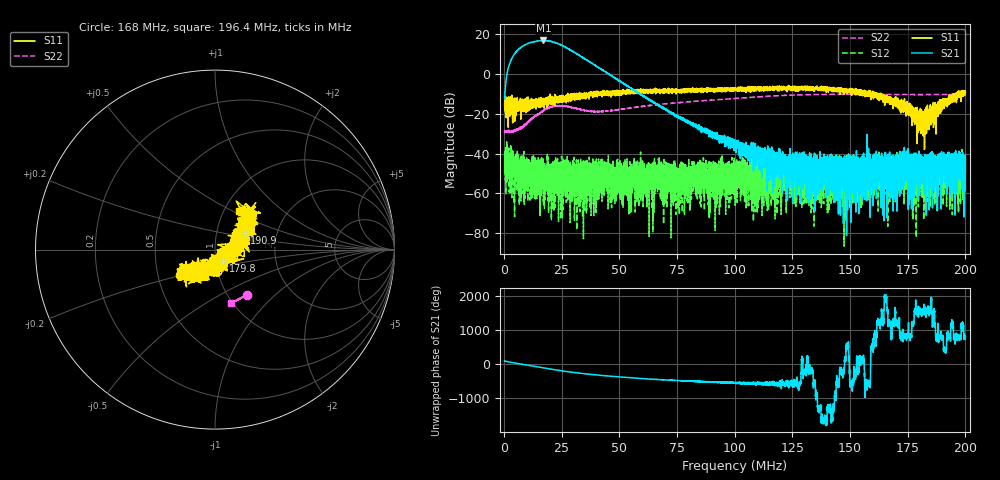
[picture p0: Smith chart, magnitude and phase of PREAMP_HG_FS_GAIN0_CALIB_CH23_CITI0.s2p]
# Hz S DB R 50
! CMT, M5065, 19127446, 24.2.4/2
! Date: 9/20/2024 3:19:42 PM
! Data: Format (Calibration Info)
! Freq	S11:dB/Ang(F2)	S21:dB/Ang(F2)	S12:dB/Ang(F2)	S22:dB/Ang(F2)
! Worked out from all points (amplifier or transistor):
!   7000 points, 300 kHz to 200 MHz, reference 50 ohm
!   highest |S21| = 17.0 dB at 17.13 MHz (marker M1)
!   |S21| within 3 dB of that: 7.997 MHz to 26.01 MHz (18.02 MHz wide, 106 % of centre)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
!   unconditionally stable (mu >= 1): start of sweep to end of sweep
!   at 33.57 MHz: K = 81.48, MAG = 9.3 dB, |S12| = -53.9 dB
!   at 100.2 MHz: K = 13311.57, MAG = -34.8 dB, |S12| = -54.7 dB
!   at 200 MHz: K = 33765.70, MAG = -39.7 dB, |S12| = -57.9 dB
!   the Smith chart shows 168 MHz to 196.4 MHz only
!   S11 on the Smith chart (normalised r, x): 168 MHz: 0.65, -0.19; 179.8 MHz: 1.09, -0.14; 190.9 MHz: 1.37, +0.26; 196.4 MHz: 1.18, +0.53
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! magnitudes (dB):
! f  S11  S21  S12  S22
! 300 kHz  -15.6  -12.5  -49.1  -29.3
! 2.183 MHz  -14.4  4.2  -44.9  -28.9
! 4.922 MHz  -14.7  10.7  -55.2  -28.8
! 17.13 MHz  -13.5  17.0  -47.4  -18.2
! 33.6 MHz  -10.5  8.8  -50.1  -17.9
! 66.87 MHz  -8.2  -15.8  -47.6  -15.3
! 100.2 MHz  -8.2  -35.7  -54.7  -12.2
! 123 MHz  -6.7  -45.5  -48.2  -10.6
! 133.5 MHz  -7.1  -49.3  -45.9  -10.3
! 144.6 MHz  -7.3  -48.3  -42.9  -10.1
! 147.6 MHz  -8.0  -44.7  -66.7  -10.2
! 150 MHz  -8.3  -60.8  -63.4  -10.2
! 162.2 MHz  -10.8  -49.8  -46.6  -10.2
! 164.2 MHz  -12.2  -50.4  -46.2  -10.2
! 166.7 MHz  -14.1  -47.1  -59.8  -10.2
! 168 MHz  -12.4  -44.7  -49.7  -10.2
! 179.8 MHz  -22.0  -42.9  -49.6  -10.3
! 182.2 MHz  -19.7  -60.1  -44.2  -10.3
! 190.9 MHz  -14.5  -40.5  -52.3  -10.2
! 196.4 MHz  -12.0  -49.9  -49.7  -10.2
! 198.9 MHz  -8.4  -43.9  -52.6  -10.2
! 200 MHz  -9.1  -40.7  -57.9  -10.2
